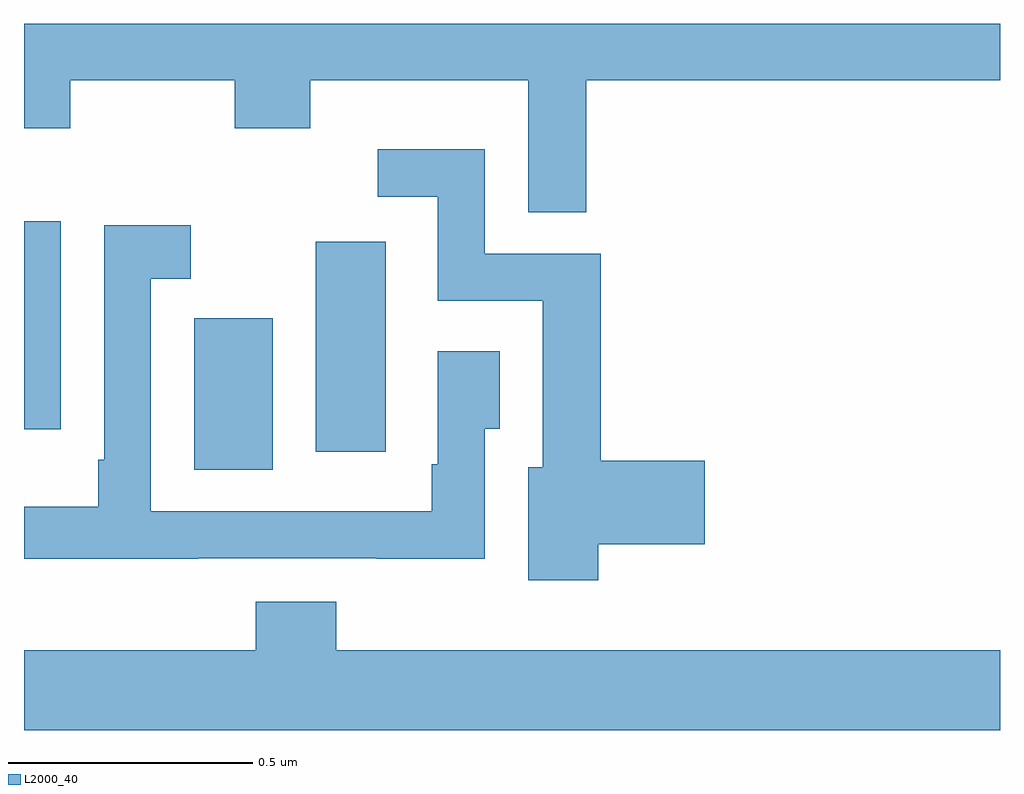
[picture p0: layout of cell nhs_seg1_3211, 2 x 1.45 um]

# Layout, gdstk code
import gdstk
lib = gdstk.Library(unit=1e-6, precision=1e-09)
def R(c, l, rs):  # rectangles x0, y0, x1, y1
    for r in rs: c.add(gdstk.rectangle(r[:2], r[2:], *l))
def P(c, l, *ps):  # polygons
    for p in ps: c.add(gdstk.Polygon(p, *l))
L2000_40 = (2000, 40)

nhs_seg1_3211 = lib.new_cell('nhs_seg1_3211')
R(nhs_seg1_3211, L2000_40, [(151.349,532.285,151.51,532.596), (151.598,532.322,151.741,532.753), (151,532.368,151.075,532.795)])
P(nhs_seg1_3211, L2000_40, [(152.152,533.084),(153,533.084),(153,533.199),(151,533.199),(151,532.985),(151.095,532.985),(151.095,533.084),(151.432,533.084),(151.432,532.985),(151.587,532.985),(151.587,533.084),(152.033,533.084),(152.033,532.813),(152.152,532.813)],
  [(152.177,532.133),(152.395,532.133),(152.395,532.304),(152.182,532.304),(152.182,532.728),(151.944,532.728),(151.944,532.942),(151.725,532.942),(151.725,532.845),(151.848,532.845),(151.848,532.632),(152.063,532.632),(152.063,532.291),(152.033,532.291),(152.033,532.059),(152.177,532.059)],
  [(151.357,532.104),(151.723,532.104),(151.723,532.103),(151.944,532.103),(151.944,532.369),(151.975,532.369),(151.975,532.528),(151.848,532.528),(151.848,532.297),(151.836,532.297),(151.836,532.2),(151.26,532.2),(151.26,532.677),(151.342,532.677),(151.342,532.786),(151.164,532.786),(151.164,532.306),(151.152,532.306),(151.152,532.21),(151,532.21),(151,532.103),(151.357,532.103)],
  [(153,531.916),(151.64,531.916),(151.64,532.015),(151.475,532.015),(151.475,531.916),(151,531.916),(151,531.752),(153,531.752)])

lib.write_gds('nhs_seg1_3211.gds')
